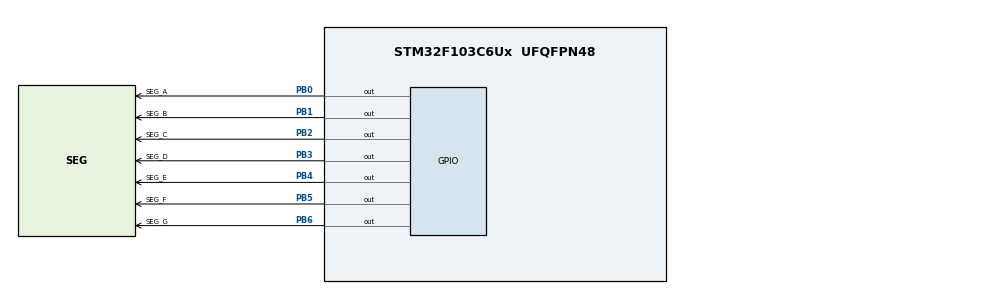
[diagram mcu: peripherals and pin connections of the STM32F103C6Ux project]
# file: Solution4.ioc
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Mcu.Family=STM32F1
Mcu.Name=STM32F103C6Ux
Mcu.Package=UFQFPN48
NVIC.PriorityGroup=NVIC_PRIORITYGROUP_4
PB0.GPIO_Label=SEG_A
PB0.Signal=GPIO_Output
PB1.GPIO_Label=SEG_B
PB1.Signal=GPIO_Output
PB2.GPIO_Label=SEG_C
PB2.Signal=GPIO_Output
PB3.GPIO_Label=SEG_D
PB3.Signal=GPIO_Output
PB4.GPIO_Label=SEG_E
PB4.Signal=GPIO_Output
PB5.GPIO_Label=SEG_F
PB5.Signal=GPIO_Output
PB6.GPIO_Label=SEG_G
PB6.Signal=GPIO_Output
ProjectManager.HeapSize=0x200
ProjectManager.StackSize=0x400
ProjectManager.TargetToolchain=STM32CubeIDE
RCC.APB1Freq_Value=8000000
RCC.APB2Freq_Value=8000000
VP_SYS_VS_ND.Mode=No_Debug
board=custom

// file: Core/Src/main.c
/* USER CODE BEGIN Header */
/**
  ******************************************************************************
  * @file           : main.c
  * @brief          : Main program body
  ******************************************************************************
  * @attention
  *
  * <h2><center>&copy; Copyright (c) 2022 STMicroelectronics.
  * All rights reserved.</center></h2>
  *
  * This software component is licensed by ST under BSD 3-Clause license,
  * the "License"; You may not use this file except in compliance with the
  * License. You may obtain a copy of the License at:
  *                        opensource.org/licenses/BSD-3-Clause
  *
  ******************************************************************************
  */
/* USER CODE END Header */
#include "main.h"

void SystemClock_Config(void);
static void MX_GPIO_Init(void);
/* USER CODE BEGIN PFP */
void display7SEG(int num);
/* USER CODE END PFP */

int main(void)
{

  /* MCU Configuration--------------------------------------------------------*/

  /* Reset of all peripherals, Initializes the Flash interface and the Systick. */
  HAL_Init();

  /* Configure the system clock */
  SystemClock_Config();

  /* Initialize all configured peripherals */
  MX_GPIO_Init();
  /* USER CODE BEGIN 2 */
  int count = 0;
  /* USER CODE END 2 */

  /* Infinite loop */
  /* USER CODE BEGIN WHILE */
  while (1)
  {
	if(count >= 10) count = 0;
	display7SEG(count++);
	HAL_Delay(1000);
    /* USER CODE END WHILE */

  }
}

void SystemClock_Config(void)
{
  RCC_OscInitTypeDef RCC_OscInitStruct = {0};
  RCC_ClkInitTypeDef RCC_ClkInitStruct = {0};

  /** Initializes the RCC Oscillators according to the specified parameters
  * in the RCC_OscInitTypeDef structure.
  */
  RCC_OscInitStruct.OscillatorType = RCC_OSCILLATORTYPE_HSI;
  RCC_OscInitStruct.HSIState = RCC_HSI_ON;
  RCC_OscInitStruct.HSICalibrationValue = RCC_HSICALIBRATION_DEFAULT;
  RCC_OscInitStruct.PLL.PLLState = RCC_PLL_NONE;
  if (HAL_RCC_OscConfig(&RCC_OscInitStruct) != HAL_OK)
  {
    Error_Handler();
  }
  /** Initializes the CPU, AHB and APB buses clocks
  */
  RCC_ClkInitStruct.ClockType = RCC_CLOCKTYPE_HCLK|RCC_CLOCKTYPE_SYSCLK
                              |RCC_CLOCKTYPE_PCLK1|RCC_CLOCKTYPE_PCLK2;
  RCC_ClkInitStruct.SYSCLKSource = RCC_SYSCLKSOURCE_HSI;
  RCC_ClkInitStruct.AHBCLKDivider = RCC_SYSCLK_DIV1;
  RCC_ClkInitStruct.APB1CLKDivider = RCC_HCLK_DIV1;
  RCC_ClkInitStruct.APB2CLKDivider = RCC_HCLK_DIV1;

  if (HAL_RCC_ClockConfig(&RCC_ClkInitStruct, FLASH_LATENCY_0) != HAL_OK)
  {
    Error_Handler();
  }
}

static void MX_GPIO_Init(void)
{
  GPIO_InitTypeDef GPIO_InitStruct = {0};

  /* GPIO Ports Clock Enable */
  __HAL_RCC_GPIOB_CLK_ENABLE();

  /*Configure GPIO pin Output Level */
  HAL_GPIO_WritePin(GPIOB, SEG_A_Pin|SEG_B_Pin|SEG_C_Pin|SEG_D_Pin
                          |SEG_E_Pin|SEG_F_Pin|SEG_G_Pin, GPIO_PIN_RESET);

  /*Configure GPIO pins : SEG_A_Pin SEG_B_Pin SEG_C_Pin SEG_D_Pin
                           SEG_E_Pin SEG_F_Pin SEG_G_Pin */
  GPIO_InitStruct.Pin = SEG_A_Pin|SEG_B_Pin|SEG_C_Pin|SEG_D_Pin
                          |SEG_E_Pin|SEG_F_Pin|SEG_G_Pin;
  GPIO_InitStruct.Mode = GPIO_MODE_OUTPUT_PP;
  GPIO_InitStruct.Pull = GPIO_NOPULL;
  GPIO_InitStruct.Speed = GPIO_SPEED_FREQ_LOW;
  HAL_GPIO_Init(GPIOB, &GPIO_InitStruct);

}

/* USER CODE BEGIN 4 */
void display7SEG(int num){
	if(num == 0) {
		HAL_GPIO_WritePin(SEG_A_GPIO_Port, SEG_A_Pin, GPIO_PIN_RESET);
		HAL_GPIO_WritePin(SEG_B_GPIO_Port, SEG_B_Pin, GPIO_PIN_RESET);
		HAL_GPIO_WritePin(SEG_C_GPIO_Port, SEG_C_Pin, GPIO_PIN_RESET);
		HAL_GPIO_WritePin(SEG_D_GPIO_Port, SEG_D_Pin, GPIO_PIN_RESET);
		HAL_GPIO_WritePin(SEG_E_GPIO_Port, SEG_E_Pin, GPIO_PIN_RESET);
		HAL_GPIO_WritePin(SEG_F_GPIO_Port, SEG_F_Pin, GPIO_PIN_RESET);
		HAL_GPIO_WritePin(SEG_G_GPIO_Port, SEG_G_Pin, GPIO_PIN_SET);
	}
	if(num == 1) {
		HAL_GPIO_WritePin(SEG_A_GPIO_Port, SEG_A_Pin, GPIO_PIN_SET);
		HAL_GPIO_WritePin(SEG_B_GPIO_Port, SEG_B_Pin, GPIO_PIN_RESET);
		HAL_GPIO_WritePin(SEG_C_GPIO_Port, SEG_C_Pin, GPIO_PIN_RESET);
		HAL_GPIO_WritePin(SEG_D_GPIO_Port, SEG_D_Pin, GPIO_PIN_SET);
		HAL_GPIO_WritePin(SEG_E_GPIO_Port, SEG_E_Pin, GPIO_PIN_SET);
		HAL_GPIO_WritePin(SEG_F_GPIO_Port, SEG_F_Pin, GPIO_PIN_SET);
		HAL_GPIO_WritePin(SEG_G_GPIO_Port, SEG_G_Pin, GPIO_PIN_SET);
	}
	if(num == 2) {
		HAL_GPIO_WritePin(SEG_A_GPIO_Port, SEG_A_Pin, GPIO_PIN_RESET);
		HAL_GPIO_WritePin(SEG_B_GPIO_Port, SEG_B_Pin, GPIO_PIN_RESET);
		HAL_GPIO_WritePin(SEG_C_GPIO_Port, SEG_C_Pin, GPIO_PIN_SET);
		HAL_GPIO_WritePin(SEG_D_GPIO_Port, SEG_D_Pin, GPIO_PIN_RESET);
		HAL_GPIO_WritePin(SEG_E_GPIO_Port, SEG_E_Pin, GPIO_PIN_RESET);
		HAL_GPIO_WritePin(SEG_F_GPIO_Port, SEG_F_Pin, GPIO_PIN_SET);
		HAL_GPIO_WritePin(SEG_G_GPIO_Port, SEG_G_Pin, GPIO_PIN_RESET);
	}
	if(num == 3) {
		HAL_GPIO_WritePin(SEG_A_GPIO_Port, SEG_A_Pin, GPIO_PIN_RESET);
		HAL_GPIO_WritePin(SEG_B_GPIO_Port, SEG_B_Pin, GPIO_PIN_RESET);
		HAL_GPIO_WritePin(SEG_C_GPIO_Port, SEG_C_Pin, GPIO_PIN_RESET);
		HAL_GPIO_WritePin(SEG_D_GPIO_Port, SEG_D_Pin, GPIO_PIN_RESET);
		HAL_GPIO_WritePin(SEG_E_GPIO_Port, SEG_E_Pin, GPIO_PIN_SET);
		HAL_GPIO_WritePin(SEG_F_GPIO_Port, SEG_F_Pin, GPIO_PIN_SET);
		HAL_GPIO_WritePin(SEG_G_GPIO_Port, SEG_G_Pin, GPIO_PIN_RESET);
	}
	if(num == 4) {
		HAL_GPIO_WritePin(SEG_A_GPIO_Port, SEG_A_Pin, GPIO_PIN_SET);
		HAL_GPIO_WritePin(SEG_B_GPIO_Port, SEG_B_Pin, GPIO_PIN_RESET);
		HAL_GPIO_WritePin(SEG_C_GPIO_Port, SEG_C_Pin, GPIO_PIN_RESET);
		HAL_GPIO_WritePin(SEG_D_GPIO_Port, SEG_D_Pin, GPIO_PIN_SET);
		HAL_GPIO_WritePin(SEG_E_GPIO_Port, SEG_E_Pin, GPIO_PIN_SET);
		HAL_GPIO_WritePin(SEG_F_GPIO_Port, SEG_F_Pin, GPIO_PIN_RESET);
		HAL_GPIO_WritePin(SEG_G_GPIO_Port, SEG_G_Pin, GPIO_PIN_RESET);
	}
	if(num == 5) {
		HAL_GPIO_WritePin(SEG_A_GPIO_Port, SEG_A_Pin, GPIO_PIN_RESET);
		HAL_GPIO_WritePin(SEG_B_GPIO_Port, SEG_B_Pin, GPIO_PIN_SET);
		HAL_GPIO_WritePin(SEG_C_GPIO_Port, SEG_C_Pin, GPIO_PIN_RESET);
		HAL_GPIO_WritePin(SEG_D_GPIO_Port, SEG_D_Pin, GPIO_PIN_RESET);
		HAL_GPIO_WritePin(SEG_E_GPIO_Port, SEG_E_Pin, GPIO_PIN_SET);
		HAL_GPIO_WritePin(SEG_F_GPIO_Port, SEG_F_Pin, GPIO_PIN_RESET);
		HAL_GPIO_WritePin(SEG_G_GPIO_Port, SEG_G_Pin, GPIO_PIN_RESET);
	}
	if(num == 6) {
		HAL_GPIO_WritePin(SEG_A_GPIO_Port, SEG_A_Pin, GPIO_PIN_RESET);
		HAL_GPIO_WritePin(SEG_B_GPIO_Port, SEG_B_Pin, GPIO_PIN_SET);
		HAL_GPIO_WritePin(SEG_C_GPIO_Port, SEG_C_Pin, GPIO_PIN_RESET);
		HAL_GPIO_WritePin(SEG_D_GPIO_Port, SEG_D_Pin, GPIO_PIN_RESET);
		HAL_GPIO_WritePin(SEG_E_GPIO_Port, SEG_E_Pin, GPIO_PIN_RESET);
		HAL_GPIO_WritePin(SEG_F_GPIO_Port, SEG_F_Pin, GPIO_PIN_RESET);
		HAL_GPIO_WritePin(SEG_G_GPIO_Port, SEG_G_Pin, GPIO_PIN_RESET);
	}
	if(num == 7) {
		HAL_GPIO_WritePin(SEG_A_GPIO_Port, SEG_A_Pin, GPIO_PIN_RESET);
		HAL_GPIO_WritePin(SEG_B_GPIO_Port, SEG_B_Pin, GPIO_PIN_RESET);
		HAL_GPIO_WritePin(SEG_C_GPIO_Port, SEG_C_Pin, GPIO_PIN_RESET);
		HAL_GPIO_WritePin(SEG_D_GPIO_Port, SEG_D_Pin, GPIO_PIN_SET);
		HAL_GPIO_WritePin(SEG_E_GPIO_Port, SEG_E_Pin, GPIO_PIN_SET);
		HAL_GPIO_WritePin(SEG_F_GPIO_Port, SEG_F_Pin, GPIO_PIN_SET);
		HAL_GPIO_WritePin(SEG_G_GPIO_Port, SEG_G_Pin, GPIO_PIN_SET);
	}
	if(num == 8) {
		HAL_GPIO_WritePin(SEG_A_GPIO_Port, SEG_A_Pin, GPIO_PIN_RESET);
		HAL_GPIO_WritePin(SEG_B_GPIO_Port, SEG_B_Pin, GPIO_PIN_RESET);
		HAL_GPIO_WritePin(SEG_C_GPIO_Port, SEG_C_Pin, GPIO_PIN_RESET);
		HAL_GPIO_WritePin(SEG_D_GPIO_Port, SEG_D_Pin, GPIO_PIN_RESET);
		HAL_GPIO_WritePin(SEG_E_GPIO_Port, SEG_E_Pin, GPIO_PIN_RESET);
		HAL_GPIO_WritePin(SEG_F_GPIO_Port, SEG_F_Pin, GPIO_PIN_RESET);
		HAL_GPIO_WritePin(SEG_G_GPIO_Port, SEG_G_Pin, GPIO_PIN_RESET);
	}
	if(num == 9) {
		HAL_GPIO_WritePin(SEG_A_GPIO_Port, SEG_A_Pin, GPIO_PIN_RESET);
		HAL_GPIO_WritePin(SEG_B_GPIO_Port, SEG_B_Pin, GPIO_PIN_RESET);
		HAL_GPIO_WritePin(SEG_C_GPIO_Port, SEG_C_Pin, GPIO_PIN_RESET);
		HAL_GPIO_WritePin(SEG_D_GPIO_Port, SEG_D_Pin, GPIO_PIN_RESET);
		HAL_GPIO_WritePin(SEG_E_GPIO_Port, SEG_E_Pin, GPIO_PIN_SET);
		HAL_GPIO_WritePin(SEG_F_GPIO_Port, SEG_F_Pin, GPIO_PIN_RESET);
		HAL_GPIO_WritePin(SEG_G_GPIO_Port, SEG_G_Pin, GPIO_PIN_RESET);
	}
}
/* USER CODE END 4 */

void Error_Handler(void)
{
  __disable_irq();
  while (1)
  {
  }
}

/************************ (C) COPYRIGHT STMicroelectronics *****END OF FILE****/
